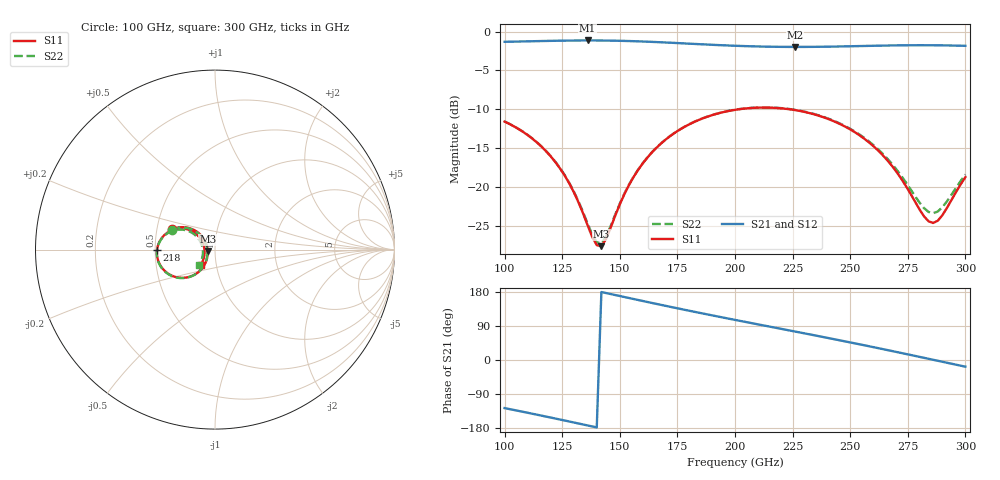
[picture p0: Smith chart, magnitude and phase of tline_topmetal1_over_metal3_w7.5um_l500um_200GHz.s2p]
#  GHZ S DB R 50
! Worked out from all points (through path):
!   101 points, 100 GHz to 300 GHz, reference 50 ohm
!   highest |S21| = -1.14 dB at 136 GHz (marker M1); lowest = -2.0 dB at 226 GHz (marker M2)
!   group delay of S21, straight-line fit = 3.45 ps
!   lowest |S11| = -27.6 dB at 142 GHz (marker M3), VSWR 1.09, Z = 46.1 - j0.798 ohm
!   |S11| at or under -10 dB: start of sweep to 201.5 GHz; 223.9 GHz to end of sweep
!   |S22| runs from -27.2 to -9.7 dB; largest |S21 - S12| = 9.4e-14
!   S11 on the Smith chart (normalised r, x): 100 GHz: 0.60, +0.15; 218 GHz: 0.51, -0.00; 300 GHz: 0.84, -0.14
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100  -11.58 154.6  -1.31 -126.9  -1.31 -126.9  -11.56 155.2
110  -13.31 144.7  -1.25 -139.2  -1.25 -139.2  -13.29 145.4
120  -16.05 136.6  -1.19 -151.9  -1.19 -151.9  -16.01 137.6
128  -19.50 134.5  -1.15 -162.2  -1.15 -162.2  -19.42 135.7
134  -23.35 141.4  -1.14 -170.1  -1.14 -170.1  -23.19 143.0
136  -24.89 148.0  -1.14 -172.7  -1.14 -172.7  -24.68 149.6
140  -27.48 173.9  -1.14 -178.0  -1.14 -178.0  -27.11 174.7
142  -27.61 -168.0  -1.15 179.4  -1.15 179.4  -27.24 -168.0
144  -26.71 -151.7  -1.15 176.8  -1.15 176.8  -26.41 -152.3
156  -18.70 -124.3  -1.23 160.9  -1.23 160.9  -18.65 -124.6
168  -14.37 -130.7  -1.37 145.3  -1.37 145.3  -14.35 -130.5
184  -11.40 -145.7  -1.61 125.2  -1.61 125.2  -11.38 -145.2
200  -10.07 -161.9  -1.82 105.8  -1.82 105.8  -10.05 -161.1
218  -9.82 -180.0  -1.95 84.6  -1.95 84.6  -9.80 -178.9
226  -10.09 172.2  -1.97 75.2  -1.97 75.2  -10.06 173.4
234  -10.61 164.4  -1.96 65.7  -1.96 65.7  -10.57 165.9
252  -12.94 148.4  -1.87 44.0  -1.87 44.0  -12.85 150.6
268  -17.23 140.3  -1.78 23.9  -1.78 23.9  -16.98 143.8
282  -23.75 163.4  -1.75 5.8  -1.75 5.8  -22.70 166.7
286  -24.62 -175.1  -1.76 0.6  -1.76 0.6  -23.36 -175.0
290  -23.63 -153.9  -1.77 -4.6  -1.77 -4.6  -22.60 -156.9
300  -18.72 -133.1  -1.83 -17.6  -1.83 -17.6  -18.37 -136.5
